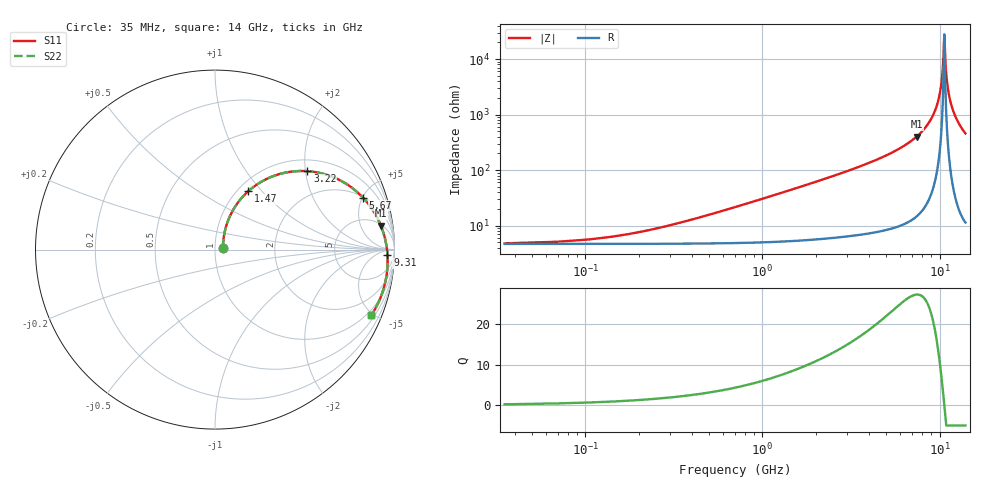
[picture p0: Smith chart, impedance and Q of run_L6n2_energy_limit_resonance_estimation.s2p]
#  Hz  S  RI  R  50
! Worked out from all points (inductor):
!   400 points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, 35 MHz to 14 GHz, reference 50 ohm
!   read as one part in series: L = 4.76 nH near 490 MHz
!   highest Q = 27.3 at 7.42 GHz (marker M1), where L = 8.59 nH
!   self-resonance near 10.64 GHz
!   S11 on the Smith chart (normalised r, x): 35 MHz: 1.09, +0.02; 1.47 GHz: 1.12, +0.85; 3.22 GHz: 1.28, +2.05; 5.67 GHz: 2.06, +5.05; 9.31 GHz: 30, -25; 14 GHz: 0.72, -4.86
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3.5e7  0.0438 0.00882  0.9538 -0.0103  0.9539 -0.0104  0.0438 0.00881
3.85e8  0.0536 0.0965  0.9397 -0.1117  0.9397 -0.1117  0.0537 0.0965
6.3e8  0.0707 0.1562  0.9174 -0.1776  0.9173 -0.1776  0.0707 0.1562
1.47e9  0.1859 0.3258  0.7909 -0.3555  0.7909 -0.3555  0.1859 0.3256
2.38e9  0.3591 0.4208  0.6149 -0.4591  0.6149 -0.4591  0.359 0.4206
3.22e9  0.5151 0.4372  0.4572 -0.4849  0.4572 -0.4849  0.515 0.437
4.69e9  0.7283 0.3683  0.2418 -0.4333  0.2418 -0.4333  0.7282 0.3681
5.67e9  0.8244 0.2899  0.1444 -0.3668  0.1444 -0.3668  0.8242 0.2896
7.035e9  0.9089 0.168  0.0578 -0.2618  0.0578 -0.2618  0.9087 0.1677
7.42e9  0.9244 0.1332  0.0416 -0.2318  0.0416 -0.2318  0.9242 0.1329
9.31e9  0.9611 -0.0318  0.00165 -0.0906  0.00158 -0.0906  0.9608 -0.0322
9.345e9  0.9612 -0.0347  0.00142 -0.0881  0.00135 -0.0881  0.961 -0.0351
9.905e9  0.9616 -0.0807  -0.000113 -0.0493  -0.000194 -0.0493  0.9614 -0.081
1.0255e10  0.96 -0.1086  0.000819 -0.0258  0.000731 -0.0258  0.9597 -0.109
1.0465e10  0.9583 -0.1251  0.00203 -0.0121  0.00194 -0.0121  0.9581 -0.1254
1.064e10  0.9566 -0.1386  0.00339 -0.000769  0.00329 -0.000765  0.9563 -0.139
1.0815e10  0.9545 -0.152  0.00506 0.0104  0.00496 0.0104  0.9543 -0.1524
1.099e10  0.9522 -0.1653  0.00704 0.0213  0.00694 0.0213  0.9519 -0.1656
1.127e10  0.9478 -0.1861  0.0108 0.0385  0.0107 0.0386  0.9475 -0.1864
1.169e10  0.9398 -0.2165  0.0178 0.0635  0.0177 0.0636  0.9396 -0.2168
1.2635e10  0.9164 -0.2814  0.0389 0.1162  0.0388 0.1162  0.9161 -0.2817
1.4e10  0.8705 -0.3661  0.0809 0.183  0.0808 0.1831  0.8703 -0.3664
